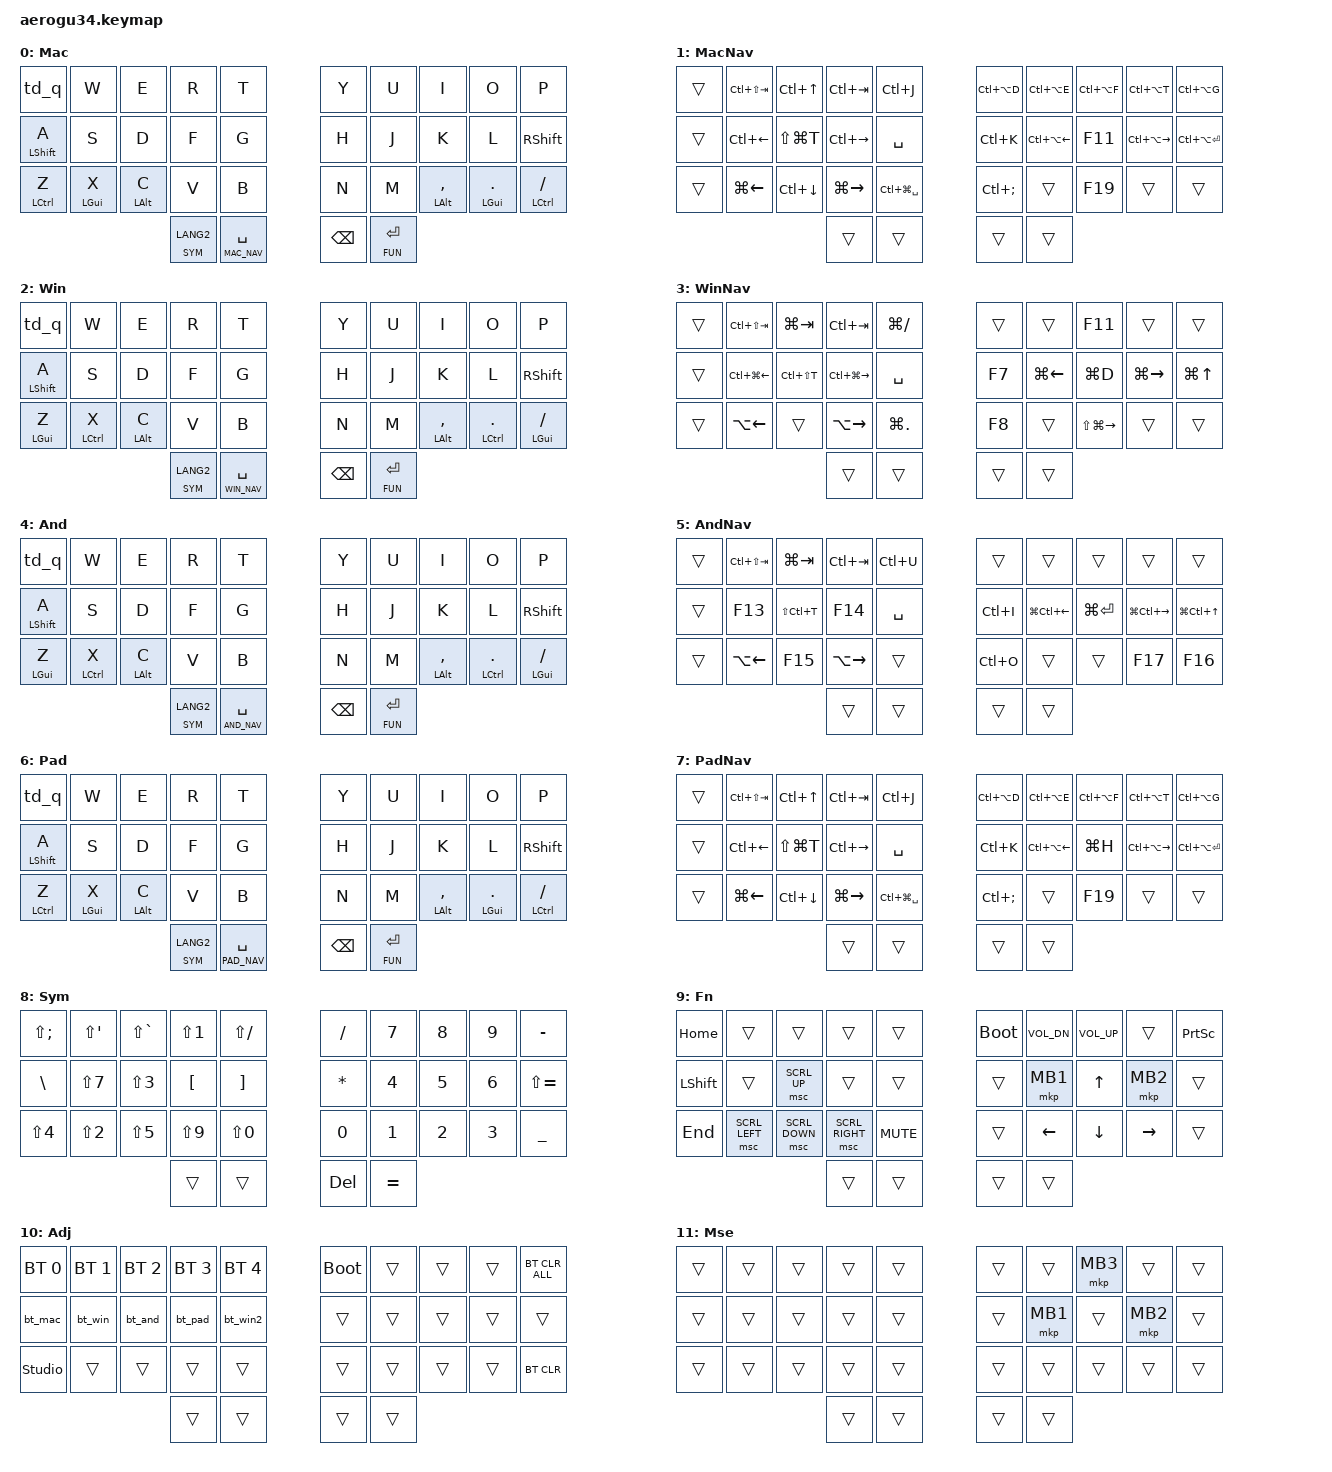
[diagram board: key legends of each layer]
// =====================================================================
// Aerogu34 keymap — Hiro版 v1.4（LiNEA40からの移植）
// 設計メモ:
//   - レイヤー番号は必ず下のdefineで参照する（番号直書き禁止・LiNEA40の轍を踏まない）
//   - ベース3段30キーはLiNEA40と同一。下段11キー→親指4キーへ再編
//   - A長押しShift＋下段ホールドMod（誤爆対策チューニング済み）
//   - トラボ: 玉を動かすとMOUSEレイヤー(11)が自動有効(AML)、
//     SYMレイヤー(8)ホールド中はスクロール（右overlay側の2行と整合済み）
// =====================================================================

#define ZMK_POINTING_DEFAULT_SCRL_VAL 150

#include <dt-bindings/zmk/mouse.h>
#include <behaviors.dtsi>
#include <dt-bindings/zmk/bt.h>
#include <dt-bindings/zmk/keys.h>
#include <dt-bindings/zmk/pointing.h>

// ---- レイヤー定義（唯一の正） ----
#define MAC      0
#define MAC_NAV  1
#define WIN      2
#define WIN_NAV  3
#define AND      4
#define AND_NAV  5
#define PAD      6
#define PAD_NAV  7
#define SYM      8   // 記号＋テンキー（右overlayのスクロール指定と連動）
#define FUN      9
#define ADJ      10  // SYM+FUN同時押しで出現
#define MSE      11  // 自動マウスレイヤー（右overlayのAML指定と連動）

// ---- キー位置（hold-trigger用） ----
//  0  1  2  3  4   |   5  6  7  8  9
// 10 11 12 13 14   |  15 16 17 18 19
// 20 21 22 23 24   |  25 26 27 28 29
//        30 31     |  32 33
#define KEYS_L 0 1 2 3 4 10 11 12 13 14 20 21 22 23 24
#define KEYS_R 5 6 7 8 9 15 16 17 18 19 25 26 27 28 29
#define THUMBS_L 30 31
#define THUMBS_R 32 33

// マウススクロール（Funcレイヤーのスクロールキー用・LiNEA40の設定を踏襲）
&msc {
    delay-ms = <3>;
    trigger-period-ms = <3>;
    time-to-max-speed-ms = <100>;
    acceleration-exponent = <0>;
};

// レイヤータップ: タップ→即ホールドでキーリピート（Space連打対応）
&lt { quick-tap-ms = <300>; };

/ {
    behaviors {
        // 左手用ホールドMod（A長押しShift・Z/X/C）
        // 反対手（右手＋右親指）のキーだけがホールドを起動する
        hml: homerow_mod_left {
            compatible = "zmk,behavior-hold-tap";
            #binding-cells = <2>;
            flavor = "balanced";
            tapping-term-ms = <280>;
            quick-tap-ms = <175>;
            require-prior-idle-ms = <150>;
            hold-trigger-key-positions = <KEYS_R THUMBS_R>;
            hold-trigger-on-release;
            bindings = <&kp>, <&kp>;
        };

        // Z専用ホールドMod（tap-preferred）
        // Google日本語入力の z+h/j/k/l（←↓↑→入力）を守るための特別扱い。
        // 巻き込み（ロール）では絶対にCtrl化せず、280ms以上「押し続けた時だけ」Ctrlになる。
        // ※zh等が誤ってCtrl+Hになる場合はtapping-termを伸ばす
        hml_tp: homerow_mod_left_tap_pref {
            compatible = "zmk,behavior-hold-tap";
            #binding-cells = <2>;
            flavor = "tap-preferred";
            tapping-term-ms = <280>;
            quick-tap-ms = <175>;
            require-prior-idle-ms = <150>;
            hold-trigger-key-positions = <KEYS_R THUMBS_R>;
            bindings = <&kp>, <&kp>;
        };

        // Q = 1回タップでQ、素早く2回タップでEsc（v1.2）
        // 他のキーを打った瞬間に確定するので、通常入力の遅延は実質なし
        td_q: tap_dance_q_esc {
            compatible = "zmk,behavior-tap-dance";
            #binding-cells = <0>;
            tapping-term-ms = <200>;
            bindings = <&kp Q>, <&kp ESC>;
        };

        // 右手用ホールドMod（,/./スラッシュ）
        hmr: homerow_mod_right {
            compatible = "zmk,behavior-hold-tap";
            #binding-cells = <2>;
            flavor = "balanced";
            tapping-term-ms = <280>;
            quick-tap-ms = <175>;
            require-prior-idle-ms = <150>;
            hold-trigger-key-positions = <KEYS_L THUMBS_L>;
            hold-trigger-on-release;
            bindings = <&kp>, <&kp>;
        };
    };

    combos {
        compatible = "zmk,combos";

        // S+D = Tab（LiNEA40から継続）
        tab {
            bindings = <&kp TAB>;
            key-positions = <11 12>;
            layers = <MAC WIN AND PAD>;
        };

        // J+K = かな（旧・左親指かなキーの移設。ローマ字にjkの並びは無く安全）
        kana {
            bindings = <&kp LANG1>;
            key-positions = <16 17>;
            layers = <MAC WIN AND PAD>;
        };

        // カンマ+ピリオド = Alt+Space（Aqua Voiceハンズフリー・存続）
        aqua_handsfree {
            bindings = <&kp RA(SPACE)>;
            key-positions = <27 28>;
            layers = <MAC WIN AND PAD>;
        };
    };

    macros {
        bt_mac: bt_mac {
            compatible = "zmk,behavior-macro";
            #binding-cells = <0>;
            bindings = <&bt BT_SEL 0>, <&macro_wait_time 200>, <&to MAC>;
            label = "BT_MAC";
        };

        bt_win: bt_win {
            compatible = "zmk,behavior-macro";
            #binding-cells = <0>;
            bindings = <&bt BT_SEL 1>, <&macro_wait_time 200>, <&to WIN>;
            label = "BT_WIN";
        };

        bt_and: bt_and {
            compatible = "zmk,behavior-macro";
            #binding-cells = <0>;
            bindings = <&bt BT_SEL 2>, <&macro_wait_time 200>, <&to AND>;
            label = "BT_AND";
        };

        bt_pad: bt_pad {
            compatible = "zmk,behavior-macro";
            #binding-cells = <0>;
            bindings = <&bt BT_SEL 3>, <&macro_wait_time 200>, <&to PAD>;
            label = "BT_PAD";
        };

        bt_win2: bt_win2 {
            compatible = "zmk,behavior-macro";
            #binding-cells = <0>;
            bindings = <&bt BT_SEL 4>, <&macro_wait_time 200>, <&to WIN>;
            label = "BT_WIN2";
        };
    };

    keymap {
        compatible = "zmk,keymap";

        // ============ 0: Mac ============
        Mac_Base {
            display-name = "Mac";
            bindings = <
&td_q           &kp W         &kp E         &kp R   &kp T          &kp Y   &kp U   &kp I            &kp O           &kp P
&hml LSHFT A    &kp S         &kp D         &kp F   &kp G          &kp H   &kp J   &kp K            &kp L           &kp RSHIFT
&hml_tp LCTRL Z &hml LGUI X   &hml LALT C   &kp V   &kp B          &kp N   &kp M   &hmr LALT COMMA  &hmr LGUI DOT   &hmr LCTRL SLASH
                              &lt SYM LANG2  &lt MAC_NAV SPACE     &kp BACKSPACE   &lt FUN ENTER
            >;
        };

        // ============ 1: Mac Nav（旧Mac_Win・3段は完全移植） ============
        Mac_Nav {
            display-name = "MacNav";
            bindings = <
&trans  &kp LC(LS(TAB))  &kp LC(UP)     &kp LC(TAB)    &kp LC(J)              &kp LC(LA(D))  &kp LC(LA(E))     &kp LC(LA(F))  &kp LC(LA(T))      &kp LC(LA(G))
&trans  &kp LC(LEFT)     &kp LS(LG(T))  &kp LC(RIGHT)  &kp SPACE              &kp LC(K)      &kp LC(LA(LEFT))  &kp F11        &kp LC(LA(RIGHT))  &kp LC(LA(ENTER))
&trans  &kp LG(LEFT)     &kp LC(DOWN)   &kp LG(RIGHT)  &kp LC(LG(SPACE))      &kp LC(SEMI)   &trans            &kp F19        &trans             &trans
                         &trans         &trans                                &trans         &trans
            >;
        };

        // ============ 2: Windows（v1.4: GUI⇔Ctrl入替＝主修飾CtrlをMacのCmdと同位置X/.に） ============
        Win_Base {
            display-name = "Win";
            bindings = <
&td_q           &kp W         &kp E         &kp R   &kp T          &kp Y   &kp U   &kp I            &kp O           &kp P
&hml LSHFT A    &kp S         &kp D         &kp F   &kp G          &kp H   &kp J   &kp K            &kp L           &kp RSHIFT
&hml_tp LGUI Z  &hml LCTRL X  &hml LALT C   &kp V   &kp B          &kp N   &kp M   &hmr LALT COMMA  &hmr LCTRL DOT  &hmr LGUI SLASH
                              &lt SYM LANG2  &lt WIN_NAV SPACE     &kp BACKSPACE   &lt FUN ENTER
            >;
        };

        // ============ 3: Win Nav（旧Win_Win・3段は完全移植） ============
        Win_Nav {
            display-name = "WinNav";
            bindings = <
&trans  &kp LC(LS(TAB))   &kp LG(TAB)    &kp LC(TAB)        &kp LG(SLASH)       &trans  &trans        &kp F11            &trans         &trans
&trans  &kp LC(LG(LEFT))  &kp LC(LS(T))  &kp LC(LG(RIGHT))  &kp SPACE           &kp F7  &kp LG(LEFT)  &kp LG(D)          &kp LG(RIGHT)  &kp LG(UP)
&trans  &kp LA(LEFT)      &trans         &kp LA(RIGHT)      &kp LG(PERIOD)      &kp F8  &trans        &kp LS(LG(RIGHT))  &trans         &trans
                          &trans         &trans                                 &trans  &trans
            >;
        };

        // ============ 4: Android（v1.4: Winと同じくGUI⇔Ctrl入替） ============
        And_Base {
            display-name = "And";
            bindings = <
&td_q           &kp W         &kp E         &kp R   &kp T          &kp Y   &kp U   &kp I            &kp O           &kp P
&hml LSHFT A    &kp S         &kp D         &kp F   &kp G          &kp H   &kp J   &kp K            &kp L           &kp RSHIFT
&hml_tp LGUI Z  &hml LCTRL X  &hml LALT C   &kp V   &kp B          &kp N   &kp M   &hmr LALT COMMA  &hmr LCTRL DOT  &hmr LGUI SLASH
                              &lt SYM LANG2  &lt AND_NAV SPACE     &kp BACKSPACE   &lt FUN ENTER
            >;
        };

        // ============ 5: And Nav（旧And_Win・3段は完全移植） ============
        And_Nav {
            display-name = "AndNav";
            bindings = <
&trans  &kp LC(LS(TAB))  &kp LG(TAB)    &kp LC(TAB)    &kp LC(U)      &trans     &trans            &trans         &trans             &trans
&trans  &kp F13          &kp LS(LC(T))  &kp F14        &kp SPACE      &kp LC(I)  &kp LG(LC(LEFT))  &kp LG(ENTER)  &kp LG(LC(RIGHT))  &kp LG(LC(UP))
&trans  &kp LA(LEFT)     &kp F15        &kp LA(RIGHT)  &trans         &kp LC(O)  &trans            &trans         &kp F17            &kp F16
                         &trans         &trans                        &trans     &trans
            >;
        };

        // ============ 6: iPad ============
        Pad_Base {
            display-name = "Pad";
            bindings = <
&td_q           &kp W         &kp E         &kp R   &kp T          &kp Y   &kp U   &kp I            &kp O           &kp P
&hml LSHFT A    &kp S         &kp D         &kp F   &kp G          &kp H   &kp J   &kp K            &kp L           &kp RSHIFT
&hml_tp LCTRL Z &hml LGUI X   &hml LALT C   &kp V   &kp B          &kp N   &kp M   &hmr LALT COMMA  &hmr LGUI DOT   &hmr LCTRL SLASH
                              &lt SYM LANG2  &lt PAD_NAV SPACE     &kp BACKSPACE   &lt FUN ENTER
            >;
        };

        // ============ 7: Pad Nav（旧Pad_Win・3段は完全移植） ============
        Pad_Nav {
            display-name = "PadNav";
            bindings = <
&trans  &kp LC(LS(TAB))  &kp LC(UP)     &kp LC(TAB)    &kp LC(J)              &kp LC(LA(D))  &kp LC(LA(E))     &kp LC(LA(F))  &kp LC(LA(T))      &kp LC(LA(G))
&trans  &kp LC(LEFT)     &kp LS(LG(T))  &kp LC(RIGHT)  &kp SPACE              &kp LC(K)      &kp LC(LA(LEFT))  &kp LG(H)      &kp LC(LA(RIGHT))  &kp LC(LA(ENTER))
&trans  &kp LG(LEFT)     &kp LC(DOWN)   &kp LG(RIGHT)  &kp LC(LG(SPACE))      &kp LC(SEMI)   &trans            &kp F19        &trans             &trans
                         &trans         &trans                                &trans         &trans
            >;
        };

        // ============ 8: 記号＋テンキー（旧SymNum・3段は完全移植） ============
        // ホールド中はトラボがスクロールになる（右overlay側で指定）
        SymNum {
            display-name = "Sym";
            bindings = <
&kp LS(SEMI)  &kp LS(APOS)  &kp LS(GRAVE)  &kp LS(N1)  &kp LS(FSLH)      &kp SLASH  &kp N7  &kp N8  &kp N9  &kp MINUS
&kp BSLH      &kp LS(N7)    &kp LS(N3)     &kp LBKT    &kp RBKT          &kp ASTRK  &kp N4  &kp N5  &kp N6  &kp LS(EQUAL)
&kp LS(N4)    &kp LS(N2)    &kp LS(N5)     &kp LS(N9)  &kp LS(N0)        &kp N0     &kp N1  &kp N2  &kp N3  &kp UNDER
                            &trans         &trans                        &kp DEL    &kp EQUAL
            >;
        };

        // ============ 9: Func（3段は移植＋音量2キー追加・ENDを左下へ） ============
        Func {
            display-name = "Fn";
            bindings = <
&kp HOME    &trans           &trans           &trans            &trans            &bootloader  &kp C_VOL_DN  &kp C_VOL_UP  &trans     &kp PRINTSCREEN
&kp LSHIFT  &trans           &msc SCRL_UP     &trans            &trans            &trans       &mkp MB1      &kp UP        &mkp MB2   &trans
&kp END     &msc SCRL_LEFT   &msc SCRL_DOWN   &msc SCRL_RIGHT   &kp K_MUTE        &trans       &kp LEFT      &kp DOWN      &kp RIGHT  &trans
                             &trans           &trans                              &trans       &trans
            >;
        };

        // ============ 10: Adjust（SYM+FUN同時押し） ============
        Adjust {
            display-name = "Adj";
            bindings = <
&bt BT_SEL 0    &bt BT_SEL 1  &bt BT_SEL 2  &bt BT_SEL 3  &bt BT_SEL 4      &bootloader  &trans  &trans  &trans  &bt BT_CLR_ALL
&bt_mac         &bt_win       &bt_and       &bt_pad       &bt_win2          &trans       &trans  &trans  &trans  &trans
&studio_unlock  &trans        &trans        &trans        &trans            &trans       &trans  &trans  &trans  &bt BT_CLR
                              &trans        &trans                          &trans       &trans
            >;
        };

        // ============ 11: Mouse（トラボを動かすと自動で有効・AML） ============
        // 最小構成（v1.4）: I=中クリック・J=左クリック・L=右クリックのみ。他は全て透過
        Mouse {
            display-name = "Mse";
            bindings = <
&trans     &trans     &trans    &trans    &trans      &trans    &trans    &mkp MB3  &trans    &trans
&trans     &trans     &trans    &trans    &trans      &trans    &mkp MB1  &trans    &mkp MB2  &trans
&trans     &trans     &trans    &trans    &trans      &trans    &trans    &trans    &trans    &trans
                      &trans    &trans                &trans    &trans
            >;
        };
    };

    conditional_layers {
        compatible = "zmk,conditional-layers";

        adjust {
            if-layers = <SYM FUN>;
            then-layer = <ADJ>;
        };
    };
};
